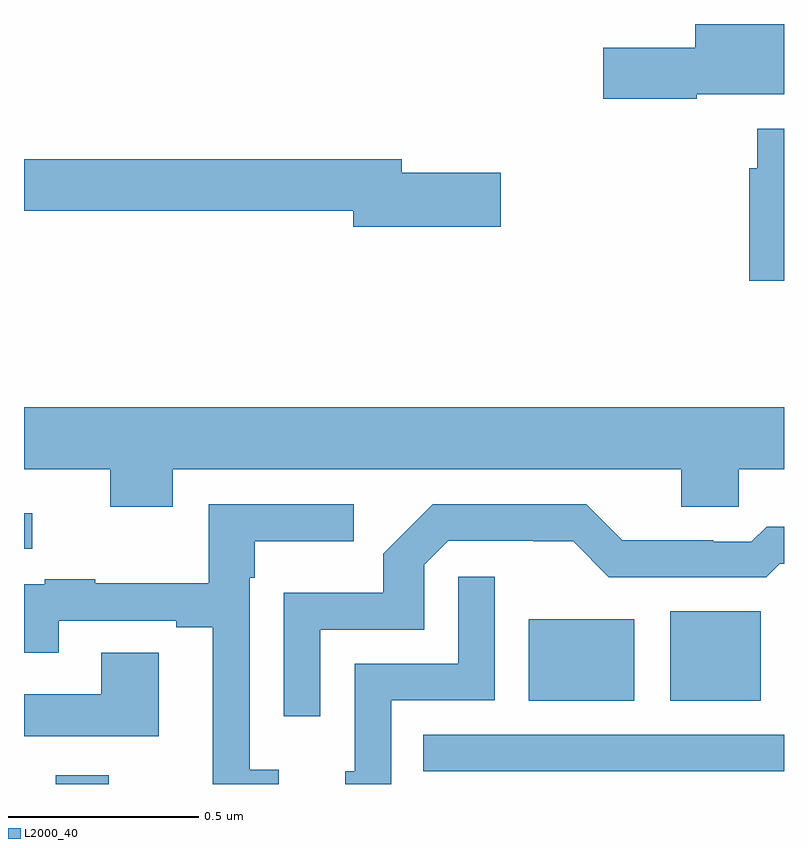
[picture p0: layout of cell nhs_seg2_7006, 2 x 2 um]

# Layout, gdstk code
import gdstk
lib = gdstk.Library(unit=1e-6, precision=1e-09)
def R(c, l, rs):  # rectangles x0, y0, x1, y1
    for r in rs: c.add(gdstk.rectangle(r[:2], r[2:], *l))
def P(c, l, *ps):  # polygons
    for p in ps: c.add(gdstk.Polygon(p, *l))
L2000_40 = (2000, 40)

nhs_seg2_7006 = lib.new_cell('nhs_seg2_7006')
R(nhs_seg2_7006, L2000_40, [(198.083,654.8,198.223,654.823), (199.328,655.019,199.606,655.234), (199.7,655.019,199.939,655.255), (198,655.419,198.022,655.513)])
P(nhs_seg2_7006, L2000_40, [(199.77,656.615),(200,656.615),(200,656.8),(199.766,656.8),(199.766,656.737),(199.524,656.737),(199.524,656.603),(199.77,656.603)],
  [(200,656.524),(199.929,656.524),(199.929,656.42),(199.909,656.42),(199.909,656.124),(200,656.124)],
  [(199.255,656.408),(198.994,656.408),(198.994,656.444),(198,656.444),(198,656.308),(198.866,656.308),(198.866,656.266),(199.255,656.266)],
  [(198.391,655.628),(199.73,655.628),(199.73,655.53),(199.881,655.53),(199.881,655.628),(200,655.628),(200,655.792),(198,655.792),(198,655.628),(198.227,655.628),(198.227,655.529),(198.391,655.529)],
  [(198.67,654.838),(198.594,654.838),(198.594,655.343),(198.607,655.343),(198.607,655.439),(198.868,655.439),(198.868,655.536),(198.486,655.536),(198.486,655.328),(198.187,655.328),(198.187,655.339),(198.055,655.339),(198.055,655.326),(198,655.326),(198,655.146),(198.091,655.146),(198.091,655.23),(198.401,655.23),(198.401,655.212),(198.497,655.212),(198.497,654.8),(198.67,654.8)],
  [(198.78,655.206),(199.053,655.206),(199.053,655.377),(199.116,655.44),(199.34,655.44),(199.34,655.439),(199.445,655.439),(199.539,655.344),(199.953,655.344),(199.989,655.38),(200,655.38),(200,655.477),(199.954,655.477),(199.914,655.437),(199.814,655.437),(199.814,655.442),(199.574,655.442),(199.479,655.536),(199.076,655.536),(198.946,655.406),(198.946,655.303),(198.684,655.303),(198.684,654.978),(198.78,654.978)],
  [(198.966,655.02),(199.239,655.02),(199.239,655.345),(199.143,655.345),(199.143,655.116),(198.87,655.116),(198.87,654.834),(198.845,654.834),(198.845,654.8),(198.966,654.8)],
  [(198.355,655.145),(198.203,655.145),(198.203,655.036),(198,655.036),(198,654.926),(198.355,654.926)],
  [(200,654.93),(199.051,654.93),(199.051,654.834),(199.729,654.834),(199.729,654.833),(200,654.833)])

lib.write_gds('nhs_seg2_7006.gds')
